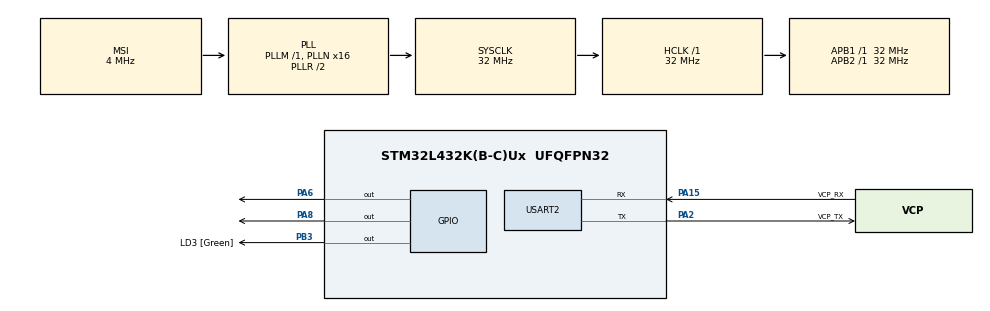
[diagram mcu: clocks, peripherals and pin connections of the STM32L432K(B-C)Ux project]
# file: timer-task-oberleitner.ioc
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Mcu.Family=STM32L4
Mcu.Name=STM32L432K(B-C)Ux
Mcu.Package=UFQFPN32
NVIC.PriorityGroup=NVIC_PRIORITYGROUP_4
NVIC.TIM6_DAC_IRQn=true\:0\:0\:false\:false\:true\:true\:true\:true
NVIC.TIM7_IRQn=true\:0\:0\:false\:false\:true\:true\:true\:true
PA0.GPIO_Label=MCO [High speed clock in]
PA0.Mode=HSE-External-Clock-Source-for-LittleOrca
PA0.Signal=RCC_CK_IN
PA13\ (JTMS-SWDIO).GPIO_Label=SWDIO
PA13\ (JTMS-SWDIO).Mode=Serial_Wire
PA13\ (JTMS-SWDIO).Signal=SYS_JTMS-SWDIO
PA14\ (JTCK-SWCLK).GPIO_Label=SWCLK
PA14\ (JTCK-SWCLK).Mode=Serial_Wire
PA14\ (JTCK-SWCLK).Signal=SYS_JTCK-SWCLK
PA15\ (JTDI).GPIO_Label=VCP_RX
PA15\ (JTDI).Mode=Asynchronous
PA15\ (JTDI).Signal=USART2_RX
PA2.GPIO_Label=VCP_TX
PA2.Mode=Asynchronous
PA2.Signal=USART2_TX
PA6.Signal=GPIO_Output
PA8.Signal=GPIO_Output
PB3\ (JTDO-TRACESWO).GPIO_Label=LD3 [Green]
PB3\ (JTDO-TRACESWO).Signal=GPIO_Output
PC14-OSC32_IN\ (PC14).Mode=LSE-External-Oscillator
PC14-OSC32_IN\ (PC14).Signal=RCC_OSC32_IN
PC15-OSC32_OUT\ (PC15).Mode=LSE-External-Oscillator
PC15-OSC32_OUT\ (PC15).Signal=RCC_OSC32_OUT
ProjectManager.HeapSize=0x200
ProjectManager.StackSize=0x400
ProjectManager.TargetToolchain=STM32CubeIDE
RCC.AHBFreq_Value=32000000
RCC.APB1Freq_Value=32000000
RCC.APB1TimFreq_Value=32000000
RCC.APB2Freq_Value=32000000
RCC.APB2TimFreq_Value=32000000
RCC.CortexFreq_Value=32000000
RCC.HCLKFreq_Value=32000000
RCC.HSE_VALUE=8000000
RCC.HSI16_VALUE=16000000
RCC.HSI48_VALUE=48000000
RCC.HSI_VALUE=16000000
RCC.MSI_VALUE=4000000
RCC.PLLMUL=RCC_PLLMUL_4
RCC.PLLN=16
RCC.SYSCLKFreq_VALUE=32000000
RCC.SYSCLKSource=RCC_SYSCLKSOURCE_PLLCLK
RCC.VCOOutputFreq_Value=64000000
TIM6.AutoReloadPreload=TIM_AUTORELOAD_PRELOAD_ENABLE
TIM6.Period=999
TIM6.Prescaler=31999
TIM7.AutoReloadPreload=TIM_AUTORELOAD_PRELOAD_DISABLE
TIM7.Period=999
TIM7.Prescaler=31999
USART2.VirtualMode-Asynchronous=VM_ASYNC
VP_TIM6_VS_ClockSourceINT.Mode=Enable_Timer
VP_TIM7_VS_ClockSourceINT.Mode=Enable_Timer
board=NUCLEO-L432KC

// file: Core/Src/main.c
/* USER CODE BEGIN Header */
/**
  ******************************************************************************
  * @file           : main.c
  * @brief          : Main program body
  * @author 		: David Oberleitner
  ******************************************************************************
  * @attention
  *
  * Copyright (c) 2023 STMicroelectronics.
  * All rights reserved.
  *
  * This software is licensed under terms that can be found in the LICENSE file
  * in the root directory of this software component.
  * If no LICENSE file comes with this software, it is provided AS-IS.
  *
  ******************************************************************************
  */
/* USER CODE END Header */
#include "main.h"

/* USER CODE BEGIN PD */
#define FLAG_ON 1
#define FLAG_OFF 0

/* USER CODE END PD */

TIM_HandleTypeDef htim6;
TIM_HandleTypeDef htim7;

UART_HandleTypeDef huart2;

/* USER CODE BEGIN PV */
volatile uint8_t flag = FLAG_OFF;						// flag for blocking loop
void(*tim7_cb)(void);									// function pointer for tim7 callback
/* USER CODE END PV */

void SystemClock_Config(void);
static void MX_GPIO_Init(void);
static void MX_USART2_UART_Init(void);
static void MX_TIM6_Init(void);
static void MX_TIM7_Init(void);
/* USER CODE BEGIN PFP */
void _tim_timeout_blocking(uint32_t time_ms);
void _tim_timeout_nonblocking_with_callback(uint32_t time_ms, void (*func)(void));
void error_led();
void User_TIMPeriodElapsedCallback(TIM_HandleTypeDef *htim);
void toggle_small_led();
/* USER CODE END PFP */

int main(void)
{

  /* MCU Configuration--------------------------------------------------------*/

  /* Reset of all peripherals, Initializes the Flash interface and the Systick. */
  HAL_Init();

  /* Configure the system clock */
  SystemClock_Config();

  /* Initialize all configured peripherals */
  MX_GPIO_Init();
  MX_USART2_UART_Init();
  MX_TIM6_Init();
  MX_TIM7_Init();
  /* USER CODE BEGIN 2 */
  HAL_TIM_RegisterCallback(&htim7, HAL_TIM_PERIOD_ELAPSED_CB_ID, User_TIMPeriodElapsedCallback);	// here, callback function for tim7 (nonblocking) is registered
  HAL_GPIO_WritePin(GPIOA, GPIO_PIN_6, GPIO_PIN_SET);
  HAL_GPIO_WritePin(GPIOA, GPIO_PIN_8, GPIO_PIN_SET);
  HAL_GPIO_WritePin(GPIOB, GPIO_PIN_3, GPIO_PIN_RESET);
  uint32_t time_block = 500-1;							// all time periods for the timers in ms
  uint32_t time_nonblock = 4000-1;
  uint16_t blink = 12;									// how often does big green LED toggle in main, should be an even number
  uint32_t delay_time = 1000-1;
  /* USER CODE END 2 */

  /* Infinite loop */
  /* USER CODE BEGIN WHILE */
  while (1)
  {
	  toggle_small_led();														// first, small LED is switched on and nonblocking timer is started
	  _tim_timeout_nonblocking_with_callback(time_nonblock, toggle_small_led);	// meanwhile, big green LED blinks using blocking timer as delay
	  _tim_timeout_blocking(time_block);										// small LED switches off after given period, unaffected by big green LED
	  for (int i = 0; i < blink; i++) {
		  HAL_GPIO_TogglePin(GPIOA, GPIO_PIN_8);
		  _tim_timeout_blocking(time_block);
	  }
	  _tim_timeout_blocking(delay_time);										// delay before everything starts again
    /* USER CODE END WHILE */

  }
}

void SystemClock_Config(void)
{
  RCC_OscInitTypeDef RCC_OscInitStruct = {0};
  RCC_ClkInitTypeDef RCC_ClkInitStruct = {0};

  /** Configure the main internal regulator output voltage
  */
  if (HAL_PWREx_ControlVoltageScaling(PWR_REGULATOR_VOLTAGE_SCALE1) != HAL_OK)
  {
    Error_Handler();
  }

  /** Configure LSE Drive Capability
  */
  HAL_PWR_EnableBkUpAccess();
  __HAL_RCC_LSEDRIVE_CONFIG(RCC_LSEDRIVE_LOW);

  /** Initializes the RCC Oscillators according to the specified parameters
  * in the RCC_OscInitTypeDef structure.
  */
  RCC_OscInitStruct.OscillatorType = RCC_OSCILLATORTYPE_LSE|RCC_OSCILLATORTYPE_MSI;
  RCC_OscInitStruct.LSEState = RCC_LSE_ON;
  RCC_OscInitStruct.MSIState = RCC_MSI_ON;
  RCC_OscInitStruct.MSICalibrationValue = 0;
  RCC_OscInitStruct.MSIClockRange = RCC_MSIRANGE_6;
  RCC_OscInitStruct.PLL.PLLState = RCC_PLL_ON;
  RCC_OscInitStruct.PLL.PLLSource = RCC_PLLSOURCE_MSI;
  RCC_OscInitStruct.PLL.PLLM = 1;
  RCC_OscInitStruct.PLL.PLLN = 16;
  RCC_OscInitStruct.PLL.PLLP = RCC_PLLP_DIV7;
  RCC_OscInitStruct.PLL.PLLQ = RCC_PLLQ_DIV2;
  RCC_OscInitStruct.PLL.PLLR = RCC_PLLR_DIV2;
  if (HAL_RCC_OscConfig(&RCC_OscInitStruct) != HAL_OK)
  {
    Error_Handler();
  }

  /** Initializes the CPU, AHB and APB buses clocks
  */
  RCC_ClkInitStruct.ClockType = RCC_CLOCKTYPE_HCLK|RCC_CLOCKTYPE_SYSCLK
                              |RCC_CLOCKTYPE_PCLK1|RCC_CLOCKTYPE_PCLK2;
  RCC_ClkInitStruct.SYSCLKSource = RCC_SYSCLKSOURCE_PLLCLK;
  RCC_ClkInitStruct.AHBCLKDivider = RCC_SYSCLK_DIV1;
  RCC_ClkInitStruct.APB1CLKDivider = RCC_HCLK_DIV1;
  RCC_ClkInitStruct.APB2CLKDivider = RCC_HCLK_DIV1;

  if (HAL_RCC_ClockConfig(&RCC_ClkInitStruct, FLASH_LATENCY_1) != HAL_OK)
  {
    Error_Handler();
  }

  /** Enable MSI Auto calibration
  */
  HAL_RCCEx_EnableMSIPLLMode();
}

static void MX_TIM6_Init(void)
{

  TIM_MasterConfigTypeDef sMasterConfig = {0};

  /* USER CODE BEGIN TIM6_Init 1 */
  	  	  	  	  	  	  	  	  	  	  // Prescaler set to 32000-1: 1 tick is 1 ms -> number of ms can be used as Period
  /* USER CODE END TIM6_Init 1 */
  htim6.Instance = TIM6;
  htim6.Init.Prescaler = 31999;
  htim6.Init.CounterMode = TIM_COUNTERMODE_UP;
  htim6.Init.Period = 999;
  htim6.Init.AutoReloadPreload = TIM_AUTORELOAD_PRELOAD_ENABLE;
  if (HAL_TIM_Base_Init(&htim6) != HAL_OK)
  {
    Error_Handler();
  }
  sMasterConfig.MasterOutputTrigger = TIM_TRGO_RESET;
  sMasterConfig.MasterSlaveMode = TIM_MASTERSLAVEMODE_DISABLE;
  if (HAL_TIMEx_MasterConfigSynchronization(&htim6, &sMasterConfig) != HAL_OK)
  {
    Error_Handler();
  }

}

static void MX_TIM7_Init(void)
{

  TIM_MasterConfigTypeDef sMasterConfig = {0};

  /* USER CODE BEGIN TIM7_Init 1 */
  	  	  	  	  	  	  	  	  	  	// Prescaler set to 32000-1: 1 tick is 1 ms -> number of ms can be used as Period
  	  	  	  	  	  	  	  			// AUTORELOAD_PRELOAD is disabled. Else, timer will use default period the first time (?) at least it did in some instances
  /* USER CODE END TIM7_Init 1 */
  htim7.Instance = TIM7;
  htim7.Init.Prescaler = 31999;
  htim7.Init.CounterMode = TIM_COUNTERMODE_UP;
  htim7.Init.Period = 999;
  htim7.Init.AutoReloadPreload = TIM_AUTORELOAD_PRELOAD_DISABLE;
  if (HAL_TIM_Base_Init(&htim7) != HAL_OK)
  {
    Error_Handler();
  }
  sMasterConfig.MasterOutputTrigger = TIM_TRGO_RESET;
  sMasterConfig.MasterSlaveMode = TIM_MASTERSLAVEMODE_DISABLE;
  if (HAL_TIMEx_MasterConfigSynchronization(&htim7, &sMasterConfig) != HAL_OK)
  {
    Error_Handler();
  }

}

static void MX_USART2_UART_Init(void)
{

  huart2.Instance = USART2;
  huart2.Init.BaudRate = 115200;
  huart2.Init.WordLength = UART_WORDLENGTH_8B;
  huart2.Init.StopBits = UART_STOPBITS_1;
  huart2.Init.Parity = UART_PARITY_NONE;
  huart2.Init.Mode = UART_MODE_TX_RX;
  huart2.Init.HwFlowCtl = UART_HWCONTROL_NONE;
  huart2.Init.OverSampling = UART_OVERSAMPLING_16;
  huart2.Init.OneBitSampling = UART_ONE_BIT_SAMPLE_DISABLE;
  huart2.AdvancedInit.AdvFeatureInit = UART_ADVFEATURE_NO_INIT;
  if (HAL_UART_Init(&huart2) != HAL_OK)
  {
    Error_Handler();
  }

}

static void MX_GPIO_Init(void)
{
  GPIO_InitTypeDef GPIO_InitStruct = {0};

  /* GPIO Ports Clock Enable */
  __HAL_RCC_GPIOC_CLK_ENABLE();
  __HAL_RCC_GPIOA_CLK_ENABLE();
  __HAL_RCC_GPIOB_CLK_ENABLE();

  /*Configure GPIO pin Output Level */
  HAL_GPIO_WritePin(GPIOA, GPIO_PIN_6|GPIO_PIN_8, GPIO_PIN_RESET);

  /*Configure GPIO pin Output Level */
  HAL_GPIO_WritePin(LD3_GPIO_Port, LD3_Pin, GPIO_PIN_RESET);

  /*Configure GPIO pins : PA6 PA8 */
  GPIO_InitStruct.Pin = GPIO_PIN_6|GPIO_PIN_8;
  GPIO_InitStruct.Mode = GPIO_MODE_OUTPUT_PP;
  GPIO_InitStruct.Pull = GPIO_NOPULL;
  GPIO_InitStruct.Speed = GPIO_SPEED_FREQ_LOW;
  HAL_GPIO_Init(GPIOA, &GPIO_InitStruct);

  /*Configure GPIO pin : LD3_Pin */
  GPIO_InitStruct.Pin = LD3_Pin;
  GPIO_InitStruct.Mode = GPIO_MODE_OUTPUT_PP;
  GPIO_InitStruct.Pull = GPIO_NOPULL;
  GPIO_InitStruct.Speed = GPIO_SPEED_FREQ_LOW;
  HAL_GPIO_Init(LD3_GPIO_Port, &GPIO_InitStruct);

}

/* USER CODE BEGIN 4 */
/**
 * @brief Blocking function, similar to HAL_Delay: changes TIM6's register values, starts timer and waits for overflow.
 * @param time_ms Time in ms for timer
 * @retval none
 */
void _tim_timeout_blocking(uint32_t time_ms) {
	__HAL_TIM_SET_AUTORELOAD(&htim6, time_ms); 		//sets autoreload value to input time in ARR register
	__HAL_TIM_SET_COUNTER(&htim6, 0);				// sets counter back to 0 in CNT register
	TIM6->EGR = 1;									// Re-initializes the timer counter and generates an update of the registers.
	__HAL_TIM_CLEAR_FLAG(&htim6, TIM_FLAG_UPDATE);	// clears update interrupt flag in SR register

	flag = FLAG_ON;										// flag is set, loop will block
	if (HAL_TIM_Base_Start_IT(&htim6) != HAL_OK) {	// starts timer, if unsuccessful, error LED is activated
		error_led();
	}

/*																		// tried to use sleep mode - led to connection problems and
	HAL_SuspendTick();													// error LED from the above HAL_TIM_Base_Start_IT
	HAL_PWR_EnterSLEEPMode(PWR_MAINREGULATOR_ON, PWR_SLEEPENTRY_WFI);
*/

	while(flag == FLAG_ON) {								// used loop to block as an alternative to sleep mode
	}												// when flag is set to 0 by interrupt callback function, loop is exited

}

/**
 * @brief Function sets global function pointer to parameter value, changes TIM7's register values, starts timer and returns (nonblocking).
 * @param time_ms Time in ms for timer
 * @param *func Function pointer to be used in the timer's callback function.
 * @retval none
 */
void _tim_timeout_nonblocking_with_callback(uint32_t time_ms, void(*func)(void)) {
	tim7_cb = func;									// set function pointer to parameter function

	__HAL_TIM_SET_AUTORELOAD(&htim7, time_ms);		// same timer settings as above
	__HAL_TIM_SET_COUNTER(&htim7, 0);
	TIM7->EGR = 1;
	__HAL_TIM_CLEAR_FLAG(&htim7, TIM_FLAG_UPDATE);

	if (HAL_TIM_Base_Start_IT(&htim7) != HAL_OK) {
		error_led();
	}
}

/**
 * @brief Error handling function: turns off green LEDs and turns on red LED in case of error.
 * @param none
 * @retval none
 */
void error_led() {
	HAL_GPIO_WritePin(GPIOB, GPIO_PIN_3, GPIO_PIN_RESET);
	HAL_GPIO_WritePin(GPIOA, GPIO_PIN_8, GPIO_PIN_SET);
	HAL_GPIO_WritePin(GPIOA, GPIO_PIN_6, GPIO_PIN_RESET);
}

/**
 * @brief Callback function for TIM6 overwrites weak function. ISR for TIM6 stops timer and resets flag.
 * @param *htim Timer handle
 * @retval none
 */
void HAL_TIM_PeriodElapsedCallback(TIM_HandleTypeDef *htim) {
	/*
	 HAL_ResumeTick(); 										// code for solution with sleep mode
	 */
		HAL_TIM_Base_Stop_IT(&htim6);
		flag = FLAG_OFF;
}

/**
 * @brief Callback function for TIM7. Called by Register_Callback via function pointer.
 * ISR for TIM7 stops timer and calls function which was passed to _tim_timeout_nonblocking_with_callback.
 * @param *htim Timer handle
 * @retval none
 */
void User_TIMPeriodElapsedCallback(TIM_HandleTypeDef *htim) {
		HAL_TIM_Base_Stop_IT(&htim7);
		tim7_cb();
}

/**
 * @brief Wrapper function for toggleing small green LED.
 * @param none
 * @retval none
 */
void toggle_small_led() {
	HAL_GPIO_TogglePin(GPIOB, GPIO_PIN_3);
}

/* USER CODE END 4 */

void Error_Handler(void)
{
  __disable_irq();
  while (1)
  {
  }
}
